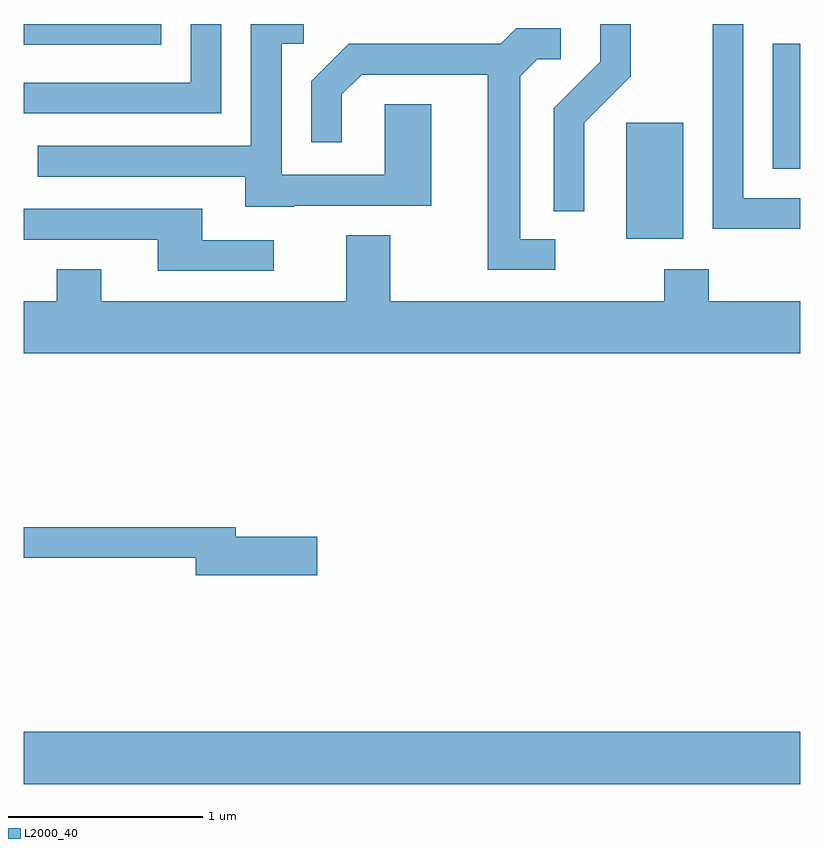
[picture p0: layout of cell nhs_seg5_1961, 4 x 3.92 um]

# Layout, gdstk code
import gdstk
lib = gdstk.Library(unit=1e-6, precision=1e-09)
def R(c, l, rs):  # rectangles x0, y0, x1, y1
    for r in rs: c.add(gdstk.rectangle(r[:2], r[2:], *l))
def P(c, l, *ps):  # polygons
    for p in ps: c.add(gdstk.Polygon(p, *l))
L2000_40 = (2000, 40)

nhs_seg5_1961 = lib.new_cell('nhs_seg5_1961')
R(nhs_seg5_1961, L2000_40, [(243.611,1430.156,247.611,1430.424), (246.716,1432.966,247.009,1433.564), (247.471,1433.326,247.611,1433.969), (243.611,1433.966,244.319,1434.072)])
P(nhs_seg5_1961, L2000_40, [(245.005,1433.136),(245.709,1433.136),(245.709,1433.659),(245.471,1433.659),(245.471,1433.294),(244.939,1433.294),(244.939,1433.971),(245.053,1433.971),(245.053,1434.072),(244.781,1434.072),(244.781,1433.444),(243.683,1433.444),(243.683,1433.286),(244.751,1433.286),(244.751,1433.131),(245.005,1433.131)],
  [(244.629,1434.072),(244.471,1434.072),(244.471,1433.769),(243.611,1433.769),(243.611,1433.611),(244.629,1433.611)],
  [(246.499,1433.564),(246.739,1433.804),(246.739,1434.072),(246.581,1434.072),(246.581,1433.877),(246.341,1433.637),(246.341,1433.108),(246.499,1433.108)],
  [(247.611,1433.174),(247.319,1433.174),(247.319,1434.072),(247.161,1434.072),(247.161,1433.016),(247.611,1433.016)],
  [(246.348,1432.964),(246.169,1432.964),(246.169,1433.804),(246.257,1433.891),(246.378,1433.891),(246.378,1434.049),(246.149,1434.049),(246.069,1433.969),(245.284,1433.969),(245.091,1433.777),(245.091,1433.463),(245.249,1433.463),(245.249,1433.709),(245.352,1433.811),(246.001,1433.811),(246.001,1432.806),(246.348,1432.806)],
  [(244.898,1432.959),(244.529,1432.959),(244.529,1433.119),(243.611,1433.119),(243.611,1432.961),(244.301,1432.961),(244.301,1432.801),(244.898,1432.801)],
  [(247.611,1432.644),(247.139,1432.644),(247.139,1432.809),(246.911,1432.809),(246.911,1432.644),(245.499,1432.644),(245.499,1432.984),(245.271,1432.984),(245.271,1432.644),(244.009,1432.644),(244.009,1432.809),(243.781,1432.809),(243.781,1432.644),(243.611,1432.644),(243.611,1432.376),(247.611,1432.376)],
  [(245.124,1431.429),(244.704,1431.429),(244.704,1431.479),(243.611,1431.479),(243.611,1431.321),(244.496,1431.321),(244.496,1431.231),(245.124,1431.231)])

lib.write_gds('nhs_seg5_1961.gds')
